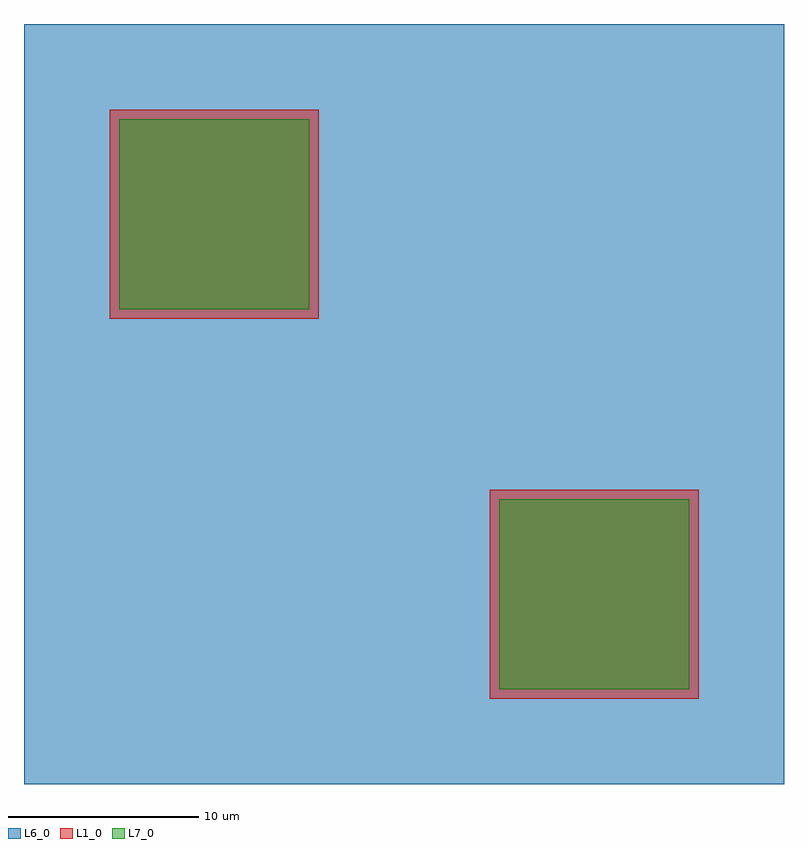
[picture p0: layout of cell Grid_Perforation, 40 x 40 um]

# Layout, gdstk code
import gdstk
lib = gdstk.Library(unit=1e-6, precision=1e-09)
def R(c, l, rs):  # rectangles x0, y0, x1, y1
    for r in rs: c.add(gdstk.rectangle(r[:2], r[2:], *l))
L1_0 = (1, 0)
L6_0 = (6, 0)
L7_0 = (7, 0)

grid_perforation = lib.new_cell('Grid_Perforation')
R(grid_perforation, L1_0, [(39.5,9.5,50.5,20.5), (19.5,29.5,30.5,40.5)])
R(grid_perforation, L6_0, [(15,5,35,25), (35,5,55,25), (15,25,35,45), (35,25,55,45)])
R(grid_perforation, L7_0, [(40,10,50,20), (20,30,30,40)])

lib.write_gds('Grid_Perforation.gds')
